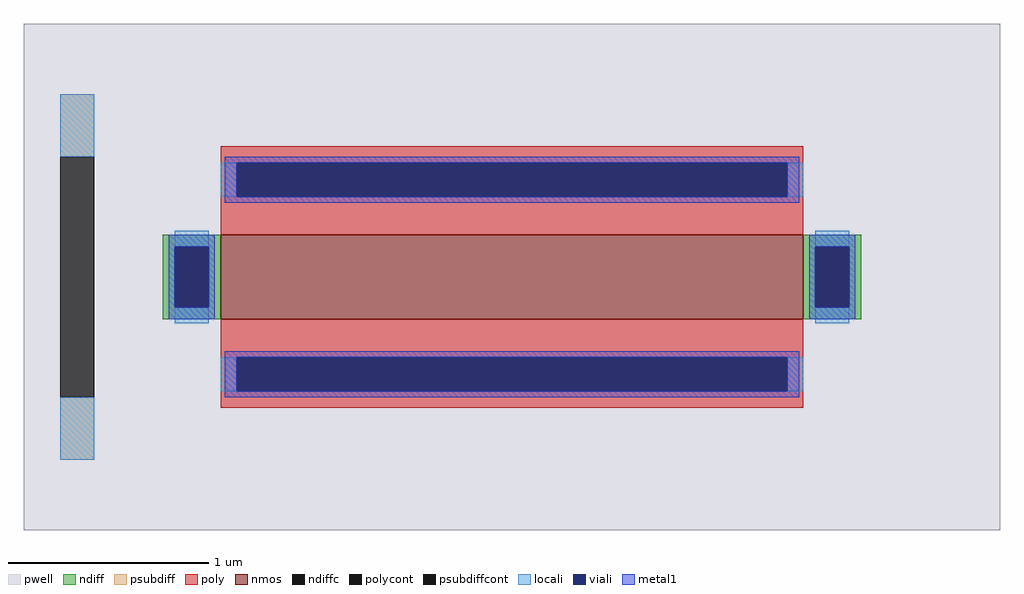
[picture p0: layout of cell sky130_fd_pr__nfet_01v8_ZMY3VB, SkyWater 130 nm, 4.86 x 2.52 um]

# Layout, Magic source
magic
tech sky130A
<< pwell >>
rect -243 -126 243 126
<< nmos >>
rect -145 -21 145 21
<< ndiff >>
rect -174 15 -145 21
rect -174 -15 -168 15
rect -151 -15 -145 15
rect -174 -21 -145 -15
rect 145 15 174 21
rect 145 -15 151 15
rect 168 -15 174 15
rect 145 -21 174 -15
<< ndiffc >>
rect -168 -15 -151 15
rect 151 -15 168 15
<< psubdiff >>
rect -225 60 -208 91
rect -225 -91 -208 -60
<< psubdiffcont >>
rect -225 -60 -208 60
<< poly >>
rect -145 57 145 65
rect -145 40 -137 57
rect 137 40 145 57
rect -145 21 145 40
rect -145 -40 145 -21
rect -145 -57 -137 -40
rect 137 -57 145 -40
rect -145 -65 145 -57
<< polycont >>
rect -137 40 137 57
rect -137 -57 137 -40
<< locali >>
rect -225 60 -208 91
rect -145 40 -137 57
rect 137 40 145 57
rect -168 15 -151 23
rect -168 -23 -151 -15
rect 151 15 168 23
rect 151 -23 168 -15
rect -145 -57 -137 -40
rect 137 -57 145 -40
rect -225 -91 -208 -60
<< viali >>
rect -137 40 137 57
rect -168 -15 -151 15
rect 151 -15 168 15
rect -137 -57 137 -40
<< metal1 >>
rect -143 57 143 60
rect -143 40 -137 57
rect 137 40 143 57
rect -143 37 143 40
rect -171 15 -148 21
rect -171 -15 -168 15
rect -151 -15 -148 15
rect -171 -21 -148 -15
rect 148 15 171 21
rect 148 -15 151 15
rect 168 -15 171 15
rect 148 -21 171 -15
rect -143 -40 143 -37
rect -143 -57 -137 -40
rect 137 -57 143 -40
rect -143 -60 143 -57
<< properties >>
string FIXED_BBOX -216 -99 216 99
string gencell sky130_fd_pr__nfet_01v8
string library sky130
string parameters w 0.42 l 2.9 m 1 nf 1 diffcov 100 polycov 100 guard 1 glc 1 grc 1 gtc 1 gbc 1 tbcov 100 rlcov 100 topc 1 botc 1 poverlap 0 doverlap 1 lmin 0.15 wmin 0.42 compatible {sky130_fd_pr__nfet_01v8 sky130_fd_pr__nfet_01v8_lvt  sky130_fd_bs_flash__special_sonosfet_star  sky130_fd_pr__nfet_g5v0d10v5 sky130_fd_pr__nfet_05v0_nvt  sky130_fd_pr__nfet_03v3_nvt} full_metal 1 viasrc 100 viadrn 100 viagate 100 viagb 0 viagr 0 viagl 0 viagt 0
<< end >>
